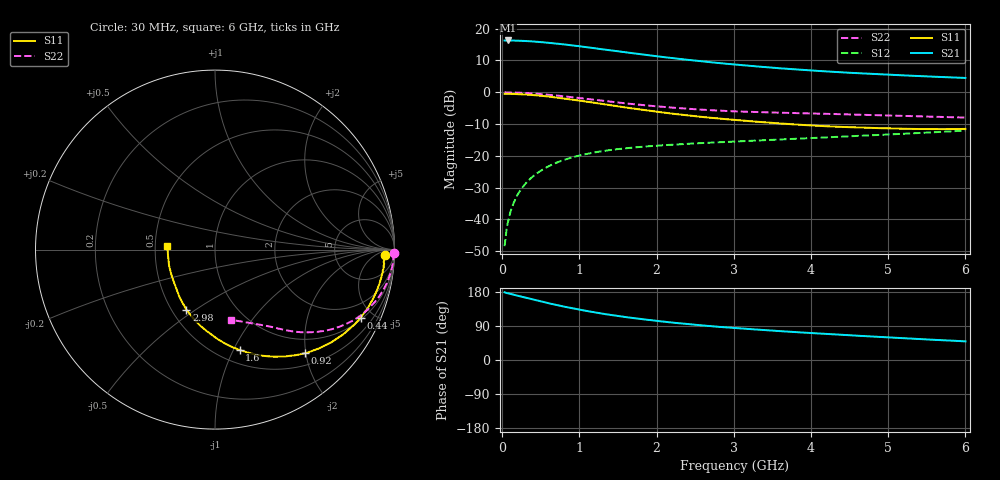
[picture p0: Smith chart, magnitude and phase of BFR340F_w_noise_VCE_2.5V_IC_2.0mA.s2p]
! Infineon Technologies  Discrete & RF Semiconductors
! BFR340F
! VCE =  2.5 V,  IC =  2.0 mA
! Common Emitter S-Parameters:  Nov 2015
# GHz  S  MA  R  50
!  f  S11  S21  S12  S22
! GHz  MAG  ANG  MAG  ANG  MAG  ANG  MAG  ANG
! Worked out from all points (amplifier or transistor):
!   206 points, 30 MHz to 6 GHz, reference 50 ohm
!   highest |S21| = 16.3 dB at 70 MHz (marker M1)
!   |S21| within 3 dB of that: start of sweep to 1.368 GHz
!   unconditionally stable (mu >= 1): 4.606 GHz to end of sweep
!   at 200 MHz: K = 0.06, MSG = 24.2 dB, |S12| = -32.1 dB
!   at 1.56 GHz: K = 0.50, MSG = 15.2 dB, |S12| = -17.7 dB
!   at 6 GHz: K = 1.03, MAG = 7.2 dB, |S12| = -12.0 dB
!   lowest NFmin = 0.79 dB at 450 MHz
!   S11 on the Smith chart (normalised r, x): 30 MHz: 28, -15; 440 MHz: 1.11, -4.24; 920 MHz: 0.71, -1.99; 1.6 GHz: 0.63, -1.06; 2.98 GHz: 0.59, -0.46; 6 GHz: 0.58, +0.02
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0.03  0.9461 -1.7  6.519 178.6  0.0038 88.9  0.9964 -1.1
0.05  0.9433 -3.0  6.483 176.8  0.0064 89.3  0.9959 -1.9
0.07  0.9419 -4.1  6.53 176.0  0.0087 87.4  0.996 -2.6
0.12  0.9421 -7.0  6.508 173.8  0.015 85.6  0.9934 -4.6
0.2  0.936 -11.7  6.483 169.6  0.0247 82.9  0.9869 -7.6
0.32  0.9187 -18.4  6.383 163.5  0.0388 78.9  0.9714 -11.9
0.44  0.8956 -25.0  6.24 157.5  0.0522 75.1  0.9504 -16.1
0.6  0.8564 -33.5  6.01 149.7  0.0687 70.3  0.9153 -21.3
0.7  0.8286 -38.6  5.846 145.2  0.078 67.6  0.8906 -24.4
0.92  0.765 -49.0  5.442 136.0  0.0957 62.2  0.8324 -30.3
1.04  0.7282 -54.3  5.217 131.4  0.1039 59.7  0.8009 -33.1
1.26  0.665 -63.4  4.815 123.5  0.1167 55.8  0.7447 -37.7
1.6  0.5756 -76.2  4.246 113.1  0.1317 51.4  0.6687 -43.5
1.8  0.5343 -82.7  3.948 107.9  0.1386 49.6  0.6324 -46.1
2.02  0.4921 -89.4  3.659 102.7  0.1451 48.1  0.5984 -48.6
2.42  0.4309 -101.0  3.223 94.4  0.1553 46.5  0.5489 -52.5
2.98  0.3706 -115.5  2.753 84.7  0.1675 45.7  0.5028 -57.1
3.1  0.3601 -118.0  2.674 83.1  0.17 45.8  0.4971 -57.9
3.5  0.3299 -126.9  2.43 77.3  0.1785 46.1  0.4802 -60.2
4.1  0.2963 -139.3  2.164 70.0  0.1925 47.1  0.4618 -63.0
5.1  0.2688 -163.0  1.868 58.6  0.2197 48.9  0.4277 -69.9
6  0.2655 175.7  1.68 49.2  0.2501 50.2  0.4 -77.2
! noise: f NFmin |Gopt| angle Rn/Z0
0.45  0.79  0.7  4  0.44
0.9  0.8  0.67  13  0.47
1.9  1.11  0.54  23  0.41
2.4  1.2  0.51  33  0.4
